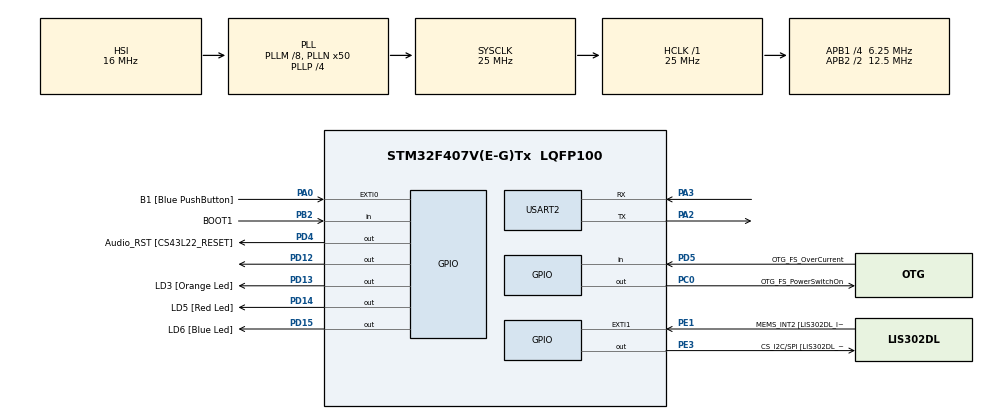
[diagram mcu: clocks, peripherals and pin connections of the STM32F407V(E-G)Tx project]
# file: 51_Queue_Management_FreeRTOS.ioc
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FREERTOS.Queues01=Data_Queue,5,uint16_t,0,Dynamic,NULL,NULL
FREERTOS.Tasks01=defaultTask,24,128,StartDefaultTask,Default,NULL,Dynamic,NULL,NULL;myTask02,24,128,Sender_Task,Default,NULL,Dynamic,NULL,NULL;myTask03,16,128,Receiver_Task,Default,NULL,Dynamic,NULL,NULL
Mcu.Family=STM32F4
Mcu.Name=STM32F407V(E-G)Tx
Mcu.Package=LQFP100
NVIC.PriorityGroup=NVIC_PRIORITYGROUP_4
PA0-WKUP.GPIO_Label=B1 [Blue PushButton]
PA0-WKUP.Signal=GPXTI0
PA10.GPIO_Label=OTG_FS_ID
PA10.GPIO_Mode=GPIO_MODE_AF_PP
PA10.GPIO_PuPd=GPIO_NOPULL
PA10.GPIO_Speed=GPIO_SPEED_FREQ_LOW
PA10.Signal=USB_OTG_FS_ID
PA11.GPIO_Label=OTG_FS_DM
PA11.GPIO_Mode=GPIO_MODE_AF_PP
PA11.GPIO_PuPd=GPIO_NOPULL
PA11.GPIO_Speed=GPIO_SPEED_FREQ_LOW
PA11.Signal=USB_OTG_FS_DM
PA12.GPIO_Label=OTG_FS_DP
PA12.GPIO_Mode=GPIO_MODE_AF_PP
PA12.GPIO_PuPd=GPIO_NOPULL
PA12.GPIO_Speed=GPIO_SPEED_FREQ_LOW
PA12.Signal=USB_OTG_FS_DP
PA13.GPIO_Label=SWDIO
PA13.Signal=SYS_JTMS-SWDIO
PA14.GPIO_Label=SWCLK
PA14.Signal=SYS_JTCK-SWCLK
PA2.Mode=Asynchronous
PA2.Signal=USART2_TX
PA3.Mode=Asynchronous
PA3.Signal=USART2_RX
PA4.GPIO_Label=I2S3_WS [CS43L22_LRCK]
PA4.GPIO_Mode=GPIO_MODE_AF_PP
PA4.GPIO_PuPd=GPIO_NOPULL
PA4.GPIO_Speed=GPIO_SPEED_FREQ_LOW
PA4.Signal=I2S3_WS
PA5.GPIO_Label=SPI1_SCK [LIS302DL_SCL/SPC]
PA5.GPIO_Mode=GPIO_MODE_AF_PP
PA5.GPIO_PuPd=GPIO_NOPULL
PA5.GPIO_Speed=GPIO_SPEED_FREQ_LOW
PA5.Signal=SPI1_SCK
PA6.GPIO_Label=SPI1_MISO [LIS302DL_SDO]
PA6.GPIO_Mode=GPIO_MODE_AF_PP
PA6.GPIO_PuPd=GPIO_NOPULL
PA6.GPIO_Speed=GPIO_SPEED_FREQ_LOW
PA6.Signal=SPI1_MISO
PA7.GPIO_Label=SPI1_MOSI [LIS302DL_SDA/SDI/SDO]
PA7.GPIO_Mode=GPIO_MODE_AF_PP
PA7.GPIO_PuPd=GPIO_NOPULL
PA7.GPIO_Speed=GPIO_SPEED_FREQ_LOW
PA7.Signal=SPI1_MOSI
PA9.GPIO_Label=VBUS_FS
PA9.GPIO_Mode=GPIO_MODE_INPUT
PA9.GPIO_PuPd=GPIO_NOPULL
PA9.Signal=USB_OTG_FS_VBUS
PB10.GPIO_Label=CLK_IN [MP45DT02_CLK]
PB10.GPIO_Mode=GPIO_MODE_AF_PP
PB10.GPIO_PuPd=GPIO_NOPULL
PB10.GPIO_Speed=GPIO_SPEED_FREQ_LOW
PB10.Signal=I2S2_CK
PB2.GPIO_Label=BOOT1
PB2.GPIO_Mode=GPIO_MODE_INPUT
PB2.GPIO_PuPd=GPIO_NOPULL
PB2.Signal=GPIO_Input
PB3.GPIO_Label=SWO
PB3.Signal=SYS_JTDO-SWO
PB6.GPIO_Label=Audio_SCL [CS43L22_SCL]
PB6.GPIO_Mode=GPIO_MODE_AF_OD
PB6.GPIO_PuPd=GPIO_NOPULL
PB6.GPIO_Speed=GPIO_SPEED_FREQ_LOW
PB6.Signal=I2C1_SCL
PB9.GPIO_Label=Audio_SDA [CS43L22_SDA]
PB9.GPIO_Mode=GPIO_MODE_AF_OD
PB9.GPIO_PuPd=GPIO_NOPULL
PB9.GPIO_Speed=GPIO_SPEED_FREQ_LOW
PB9.Signal=I2C1_SDA
PC0.GPIO_Label=OTG_FS_PowerSwitchOn
PC0.GPIO_PuPd=GPIO_NOPULL
PC0.GPIO_Speed=GPIO_SPEED_FREQ_LOW
PC0.PinState=GPIO_PIN_SET
PC0.Signal=GPIO_Output
PC10.GPIO_Label=I2S3_SCK [CS43L22_SCLK]
PC10.GPIO_Mode=GPIO_MODE_AF_PP
PC10.GPIO_PuPd=GPIO_NOPULL
PC10.GPIO_Speed=GPIO_SPEED_FREQ_LOW
PC10.Signal=I2S3_CK
PC12.GPIO_Label=I2S3_SD [CS43L22_SDIN]
PC12.GPIO_Mode=GPIO_MODE_AF_PP
PC12.GPIO_PuPd=GPIO_NOPULL
PC12.GPIO_Speed=GPIO_SPEED_FREQ_LOW
PC12.Signal=I2S3_SD
PC14-OSC32_IN.GPIO_Label=PC14-OSC32_IN
PC14-OSC32_IN.Signal=RCC_OSC32_IN
PC15-OSC32_OUT.GPIO_Label=PC15-OSC32_OUT
PC15-OSC32_OUT.Signal=RCC_OSC32_OUT
PC3.GPIO_Label=PDM_OUT [MP45DT02_DOUT]
PC3.GPIO_Mode=GPIO_MODE_AF_PP
PC3.GPIO_PuPd=GPIO_NOPULL
PC3.GPIO_Speed=GPIO_SPEED_FREQ_LOW
PC3.Signal=I2S2_SD
PC7.GPIO_Label=I2S3_MCK [CS43L22_MCLK]
PC7.GPIO_Mode=GPIO_MODE_AF_PP
PC7.GPIO_PuPd=GPIO_NOPULL
PC7.GPIO_Speed=GPIO_SPEED_FREQ_LOW
PC7.Signal=I2S3_MCK
PD12.Signal=GPIO_Output
PD13.GPIO_Label=LD3 [Orange Led]
PD13.GPIO_PuPd=GPIO_NOPULL
PD13.GPIO_Speed=GPIO_SPEED_FREQ_LOW
PD13.Signal=GPIO_Output
PD14.GPIO_Label=LD5 [Red Led]
PD14.GPIO_PuPd=GPIO_NOPULL
PD14.GPIO_Speed=GPIO_SPEED_FREQ_LOW
PD14.Signal=GPIO_Output
PD15.GPIO_Label=LD6 [Blue Led]
PD15.GPIO_PuPd=GPIO_NOPULL
PD15.GPIO_Speed=GPIO_SPEED_FREQ_LOW
PD15.Signal=GPIO_Output
PD4.GPIO_Label=Audio_RST [CS43L22_RESET]
PD4.GPIO_PuPd=GPIO_NOPULL
PD4.GPIO_Speed=GPIO_SPEED_FREQ_LOW
PD4.Signal=GPIO_Output
PD5.GPIO_Label=OTG_FS_OverCurrent
PD5.GPIO_Mode=GPIO_MODE_INPUT
PD5.GPIO_PuPd=GPIO_NOPULL
PD5.Signal=GPIO_Input
PE1.GPIO_Label=MEMS_INT2 [LIS302DL_INT2]
PE1.GPIO_ModeDefaultEXTI=GPIO_MODE_EVT_RISING
PE1.GPIO_PuPd=GPIO_NOPULL
PE1.Signal=GPXTI1
PE3.GPIO_Label=CS_I2C/SPI [LIS302DL_CS_I2C/SPI]
PE3.GPIO_PuPd=GPIO_NOPULL
PE3.GPIO_Speed=GPIO_SPEED_FREQ_LOW
PE3.Signal=GPIO_Output
PH0-OSC_IN.GPIO_Label=PH0-OSC_IN
PH0-OSC_IN.Signal=RCC_OSC_IN
PH1-OSC_OUT.GPIO_Label=PH1-OSC_OUT
PH1-OSC_OUT.Signal=RCC_OSC_OUT
ProjectManager.HeapSize=0x200
ProjectManager.StackSize=0x400
ProjectManager.TargetToolchain=STM32CubeIDE
RCC.48MHZClocksFreq_Value=14285714.285714285
RCC.AHBFreq_Value=25000000
RCC.APB1CLKDivider=RCC_HCLK_DIV4
RCC.APB1Freq_Value=6250000
RCC.APB1TimFreq_Value=12500000
RCC.APB2CLKDivider=RCC_HCLK_DIV2
RCC.APB2Freq_Value=12500000
RCC.APB2TimFreq_Value=25000000
RCC.CortexFreq_Value=25000000
RCC.HCLKFreq_Value=25000000
RCC.HSE_VALUE=8000000
RCC.HSI_VALUE=16000000
RCC.LSE_VALUE=32768
RCC.PLLM=8
RCC.PLLN=50
RCC.PLLP=RCC_PLLP_DIV4
RCC.PLLQ=7
RCC.SYSCLKFreq_VALUE=25000000
RCC.SYSCLKSource=RCC_SYSCLKSOURCE_PLLCLK
RCC.VCOOutputFreq_Value=100000000
USART2.VirtualMode=VM_ASYNC
VP_FREERTOS_VS_CMSIS_V2.Mode=CMSIS_V2
board=STM32F407G-DISC1

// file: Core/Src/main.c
/* USER CODE BEGIN Header */
/**
  ******************************************************************************
  * @file           : main.c
  * @brief          : Main program body
  ******************************************************************************
  * @attention
  *
  * Copyright (c) 2026 STMicroelectronics.
  * All rights reserved.
  *
  * This software is licensed under terms that can be found in the LICENSE file
  * in the root directory of this software component.
  * If no LICENSE file comes with this software, it is provided AS-IS.
  *
  ******************************************************************************
  */
/* USER CODE END Header */
#include "main.h"
#include "cmsis_os.h"

/* USER CODE BEGIN Includes */
#include <stdio.h>
/* USER CODE END Includes */

UART_HandleTypeDef huart2;

/* Definitions for defaultTask */
osThreadId_t defaultTaskHandle;
const osThreadAttr_t defaultTask_attributes = {
  .name = "defaultTask",
  .stack_size = 128 * 4,
  .priority = (osPriority_t) osPriorityNormal,
};
/* Definitions for myTask02 */
osThreadId_t myTask02Handle;
const osThreadAttr_t myTask02_attributes = {
  .name = "myTask02",
  .stack_size = 128 * 4,
  .priority = (osPriority_t) osPriorityNormal,
};
/* Definitions for myTask03 */
osThreadId_t myTask03Handle;
const osThreadAttr_t myTask03_attributes = {
  .name = "myTask03",
  .stack_size = 128 * 4,
  .priority = (osPriority_t) osPriorityBelowNormal,
};
/* Definitions for Data_Queue */
osMessageQueueId_t Data_QueueHandle;
const osMessageQueueAttr_t Data_Queue_attributes = {
  .name = "Data_Queue"
};

void SystemClock_Config(void);
static void MX_GPIO_Init(void);
static void MX_USART2_UART_Init(void);
void StartDefaultTask(void *argument);
void Sender_Task(void *argument);
void Receiver_Task(void *argument);

/* USER CODE BEGIN 0 */
int __io_putchar(int ch)
{
    HAL_UART_Transmit(&huart2,
                      (uint8_t*)&ch,
                      1,
                      HAL_MAX_DELAY);

    return ch;
}
/* USER CODE END 0 */

int main(void)
{

  /* MCU Configuration--------------------------------------------------------*/

  /* Reset of all peripherals, Initializes the Flash interface and the Systick. */
  HAL_Init();

  /* Configure the system clock */
  SystemClock_Config();

  /* Initialize all configured peripherals */
  MX_GPIO_Init();
  MX_USART2_UART_Init();

  /* Init scheduler */
  osKernelInitialize();

  /* Create the queue(s) */
  /* creation of Data_Queue */
  Data_QueueHandle = osMessageQueueNew (5, sizeof(uint16_t), &Data_Queue_attributes);

  /* Create the thread(s) */
  /* creation of defaultTask */
  defaultTaskHandle = osThreadNew(StartDefaultTask, NULL, &defaultTask_attributes);

  /* creation of myTask02 */
  myTask02Handle = osThreadNew(Sender_Task, NULL, &myTask02_attributes);

  /* creation of myTask03 */
  myTask03Handle = osThreadNew(Receiver_Task, NULL, &myTask03_attributes);

  /* Start scheduler */
  osKernelStart();

  /* We should never get here as control is now taken by the scheduler */

  /* Infinite loop */
  while (1)
  {

  }
}

void SystemClock_Config(void)
{
  RCC_OscInitTypeDef RCC_OscInitStruct = {0};
  RCC_ClkInitTypeDef RCC_ClkInitStruct = {0};

  /** Configure the main internal regulator output voltage
  */
  __HAL_RCC_PWR_CLK_ENABLE();
  __HAL_PWR_VOLTAGESCALING_CONFIG(PWR_REGULATOR_VOLTAGE_SCALE1);

  /** Initializes the RCC Oscillators according to the specified parameters
  * in the RCC_OscInitTypeDef structure.
  */
  RCC_OscInitStruct.OscillatorType = RCC_OSCILLATORTYPE_HSI;
  RCC_OscInitStruct.HSIState = RCC_HSI_ON;
  RCC_OscInitStruct.HSICalibrationValue = RCC_HSICALIBRATION_DEFAULT;
  RCC_OscInitStruct.PLL.PLLState = RCC_PLL_ON;
  RCC_OscInitStruct.PLL.PLLSource = RCC_PLLSOURCE_HSI;
  RCC_OscInitStruct.PLL.PLLM = 8;
  RCC_OscInitStruct.PLL.PLLN = 50;
  RCC_OscInitStruct.PLL.PLLP = RCC_PLLP_DIV4;
  RCC_OscInitStruct.PLL.PLLQ = 7;
  if (HAL_RCC_OscConfig(&RCC_OscInitStruct) != HAL_OK)
  {
    Error_Handler();
  }

  /** Initializes the CPU, AHB and APB buses clocks
  */
  RCC_ClkInitStruct.ClockType = RCC_CLOCKTYPE_HCLK|RCC_CLOCKTYPE_SYSCLK
                              |RCC_CLOCKTYPE_PCLK1|RCC_CLOCKTYPE_PCLK2;
  RCC_ClkInitStruct.SYSCLKSource = RCC_SYSCLKSOURCE_PLLCLK;
  RCC_ClkInitStruct.AHBCLKDivider = RCC_SYSCLK_DIV1;
  RCC_ClkInitStruct.APB1CLKDivider = RCC_HCLK_DIV4;
  RCC_ClkInitStruct.APB2CLKDivider = RCC_HCLK_DIV2;

  if (HAL_RCC_ClockConfig(&RCC_ClkInitStruct, FLASH_LATENCY_0) != HAL_OK)
  {
    Error_Handler();
  }
}

static void MX_USART2_UART_Init(void)
{

  huart2.Instance = USART2;
  huart2.Init.BaudRate = 115200;
  huart2.Init.WordLength = UART_WORDLENGTH_8B;
  huart2.Init.StopBits = UART_STOPBITS_1;
  huart2.Init.Parity = UART_PARITY_NONE;
  huart2.Init.Mode = UART_MODE_TX_RX;
  huart2.Init.HwFlowCtl = UART_HWCONTROL_NONE;
  huart2.Init.OverSampling = UART_OVERSAMPLING_16;
  if (HAL_UART_Init(&huart2) != HAL_OK)
  {
    Error_Handler();
  }

}

static void MX_GPIO_Init(void)
{
  GPIO_InitTypeDef GPIO_InitStruct = {0};

  /* GPIO Ports Clock Enable */
  __HAL_RCC_GPIOE_CLK_ENABLE();
  __HAL_RCC_GPIOC_CLK_ENABLE();
  __HAL_RCC_GPIOH_CLK_ENABLE();
  __HAL_RCC_GPIOA_CLK_ENABLE();
  __HAL_RCC_GPIOB_CLK_ENABLE();
  __HAL_RCC_GPIOD_CLK_ENABLE();

  /*Configure GPIO pin Output Level */
  HAL_GPIO_WritePin(CS_I2C_SPI_GPIO_Port, CS_I2C_SPI_Pin, GPIO_PIN_RESET);

  /*Configure GPIO pin Output Level */
  HAL_GPIO_WritePin(OTG_FS_PowerSwitchOn_GPIO_Port, OTG_FS_PowerSwitchOn_Pin, GPIO_PIN_SET);

  /*Configure GPIO pin Output Level */
  HAL_GPIO_WritePin(GPIOD, GPIO_PIN_12|LD3_Pin|LD5_Pin|LD6_Pin
                          |Audio_RST_Pin, GPIO_PIN_RESET);

  /*Configure GPIO pin : CS_I2C_SPI_Pin */
  GPIO_InitStruct.Pin = CS_I2C_SPI_Pin;
  GPIO_InitStruct.Mode = GPIO_MODE_OUTPUT_PP;
  GPIO_InitStruct.Pull = GPIO_NOPULL;
  GPIO_InitStruct.Speed = GPIO_SPEED_FREQ_LOW;
  HAL_GPIO_Init(CS_I2C_SPI_GPIO_Port, &GPIO_InitStruct);

  /*Configure GPIO pin : OTG_FS_PowerSwitchOn_Pin */
  GPIO_InitStruct.Pin = OTG_FS_PowerSwitchOn_Pin;
  GPIO_InitStruct.Mode = GPIO_MODE_OUTPUT_PP;
  GPIO_InitStruct.Pull = GPIO_NOPULL;
  GPIO_InitStruct.Speed = GPIO_SPEED_FREQ_LOW;
  HAL_GPIO_Init(OTG_FS_PowerSwitchOn_GPIO_Port, &GPIO_InitStruct);

  /*Configure GPIO pin : PDM_OUT_Pin */
  GPIO_InitStruct.Pin = PDM_OUT_Pin;
  GPIO_InitStruct.Mode = GPIO_MODE_AF_PP;
  GPIO_InitStruct.Pull = GPIO_NOPULL;
  GPIO_InitStruct.Speed = GPIO_SPEED_FREQ_LOW;
  GPIO_InitStruct.Alternate = GPIO_AF5_SPI2;
  HAL_GPIO_Init(PDM_OUT_GPIO_Port, &GPIO_InitStruct);

  /*Configure GPIO pin : B1_Pin */
  GPIO_InitStruct.Pin = B1_Pin;
  GPIO_InitStruct.Mode = GPIO_MODE_IT_RISING;
  GPIO_InitStruct.Pull = GPIO_NOPULL;
  HAL_GPIO_Init(B1_GPIO_Port, &GPIO_InitStruct);

  /*Configure GPIO pin : I2S3_WS_Pin */
  GPIO_InitStruct.Pin = I2S3_WS_Pin;
  GPIO_InitStruct.Mode = GPIO_MODE_AF_PP;
  GPIO_InitStruct.Pull = GPIO_NOPULL;
  GPIO_InitStruct.Speed = GPIO_SPEED_FREQ_LOW;
  GPIO_InitStruct.Alternate = GPIO_AF6_SPI3;
  HAL_GPIO_Init(I2S3_WS_GPIO_Port, &GPIO_InitStruct);

  /*Configure GPIO pins : SPI1_SCK_Pin SPI1_MISO_Pin SPI1_MOSI_Pin */
  GPIO_InitStruct.Pin = SPI1_SCK_Pin|SPI1_MISO_Pin|SPI1_MOSI_Pin;
  GPIO_InitStruct.Mode = GPIO_MODE_AF_PP;
  GPIO_InitStruct.Pull = GPIO_NOPULL;
  GPIO_InitStruct.Speed = GPIO_SPEED_FREQ_LOW;
  GPIO_InitStruct.Alternate = GPIO_AF5_SPI1;
  HAL_GPIO_Init(GPIOA, &GPIO_InitStruct);

  /*Configure GPIO pin : BOOT1_Pin */
  GPIO_InitStruct.Pin = BOOT1_Pin;
  GPIO_InitStruct.Mode = GPIO_MODE_INPUT;
  GPIO_InitStruct.Pull = GPIO_NOPULL;
  HAL_GPIO_Init(BOOT1_GPIO_Port, &GPIO_InitStruct);

  /*Configure GPIO pin : CLK_IN_Pin */
  GPIO_InitStruct.Pin = CLK_IN_Pin;
  GPIO_InitStruct.Mode = GPIO_MODE_AF_PP;
  GPIO_InitStruct.Pull = GPIO_NOPULL;
  GPIO_InitStruct.Speed = GPIO_SPEED_FREQ_LOW;
  GPIO_InitStruct.Alternate = GPIO_AF5_SPI2;
  HAL_GPIO_Init(CLK_IN_GPIO_Port, &GPIO_InitStruct);

  /*Configure GPIO pins : PD12 LD3_Pin LD5_Pin LD6_Pin
                           Audio_RST_Pin */
  GPIO_InitStruct.Pin = GPIO_PIN_12|LD3_Pin|LD5_Pin|LD6_Pin
                          |Audio_RST_Pin;
  GPIO_InitStruct.Mode = GPIO_MODE_OUTPUT_PP;
  GPIO_InitStruct.Pull = GPIO_NOPULL;
  GPIO_InitStruct.Speed = GPIO_SPEED_FREQ_LOW;
  HAL_GPIO_Init(GPIOD, &GPIO_InitStruct);

  /*Configure GPIO pins : I2S3_MCK_Pin I2S3_SCK_Pin I2S3_SD_Pin */
  GPIO_InitStruct.Pin = I2S3_MCK_Pin|I2S3_SCK_Pin|I2S3_SD_Pin;
  GPIO_InitStruct.Mode = GPIO_MODE_AF_PP;
  GPIO_InitStruct.Pull = GPIO_NOPULL;
  GPIO_InitStruct.Speed = GPIO_SPEED_FREQ_LOW;
  GPIO_InitStruct.Alternate = GPIO_AF6_SPI3;
  HAL_GPIO_Init(GPIOC, &GPIO_InitStruct);

  /*Configure GPIO pin : VBUS_FS_Pin */
  GPIO_InitStruct.Pin = VBUS_FS_Pin;
  GPIO_InitStruct.Mode = GPIO_MODE_INPUT;
  GPIO_InitStruct.Pull = GPIO_NOPULL;
  HAL_GPIO_Init(VBUS_FS_GPIO_Port, &GPIO_InitStruct);

  /*Configure GPIO pins : OTG_FS_ID_Pin OTG_FS_DM_Pin OTG_FS_DP_Pin */
  GPIO_InitStruct.Pin = OTG_FS_ID_Pin|OTG_FS_DM_Pin|OTG_FS_DP_Pin;
  GPIO_InitStruct.Mode = GPIO_MODE_AF_PP;
  GPIO_InitStruct.Pull = GPIO_NOPULL;
  GPIO_InitStruct.Speed = GPIO_SPEED_FREQ_LOW;
  GPIO_InitStruct.Alternate = GPIO_AF10_OTG_FS;
  HAL_GPIO_Init(GPIOA, &GPIO_InitStruct);

  /*Configure GPIO pin : OTG_FS_OverCurrent_Pin */
  GPIO_InitStruct.Pin = OTG_FS_OverCurrent_Pin;
  GPIO_InitStruct.Mode = GPIO_MODE_INPUT;
  GPIO_InitStruct.Pull = GPIO_NOPULL;
  HAL_GPIO_Init(OTG_FS_OverCurrent_GPIO_Port, &GPIO_InitStruct);

  /*Configure GPIO pins : Audio_SCL_Pin Audio_SDA_Pin */
  GPIO_InitStruct.Pin = Audio_SCL_Pin|Audio_SDA_Pin;
  GPIO_InitStruct.Mode = GPIO_MODE_AF_OD;
  GPIO_InitStruct.Pull = GPIO_NOPULL;
  GPIO_InitStruct.Speed = GPIO_SPEED_FREQ_LOW;
  GPIO_InitStruct.Alternate = GPIO_AF4_I2C1;
  HAL_GPIO_Init(GPIOB, &GPIO_InitStruct);

  /*Configure GPIO pin : MEMS_INT2_Pin */
  GPIO_InitStruct.Pin = MEMS_INT2_Pin;
  GPIO_InitStruct.Mode = GPIO_MODE_EVT_RISING;
  GPIO_InitStruct.Pull = GPIO_NOPULL;
  HAL_GPIO_Init(MEMS_INT2_GPIO_Port, &GPIO_InitStruct);

}

void StartDefaultTask(void *argument)
{
  for(;;)
  {
    osDelay(1);
  }
}

void Sender_Task(void *argument)
{
  /* USER CODE BEGIN Sender_Task */
	uint16_t data = 0;
  /* Infinite loop */
  for(;;)
  {
	  data += 10;

	        osMessageQueuePut(Data_QueueHandle,
	                          &data,
	                          0,
	                          0);
	        printf("Sent: %d\r\n", data);
    osDelay(1000);
  }
  /* USER CODE END Sender_Task */
}

void Receiver_Task(void *argument)
{
  /* USER CODE BEGIN Receiver_Task */
	uint16_t rx_data;
  /* Infinite loop */
  for(;;)
  {
	  if(osMessageQueueGet(Data_QueueHandle,
	                             &rx_data,
	                             NULL,
	                             osWaitForever) == osOK)
	        {
	            HAL_GPIO_TogglePin(GPIOD, GPIO_PIN_12);

	            printf("Received: %d\r\n", rx_data);
	        }
    osDelay(1);
  }
  /* USER CODE END Receiver_Task */
}

void Error_Handler(void)
{
  __disable_irq();
  while (1)
  {
  }
}
